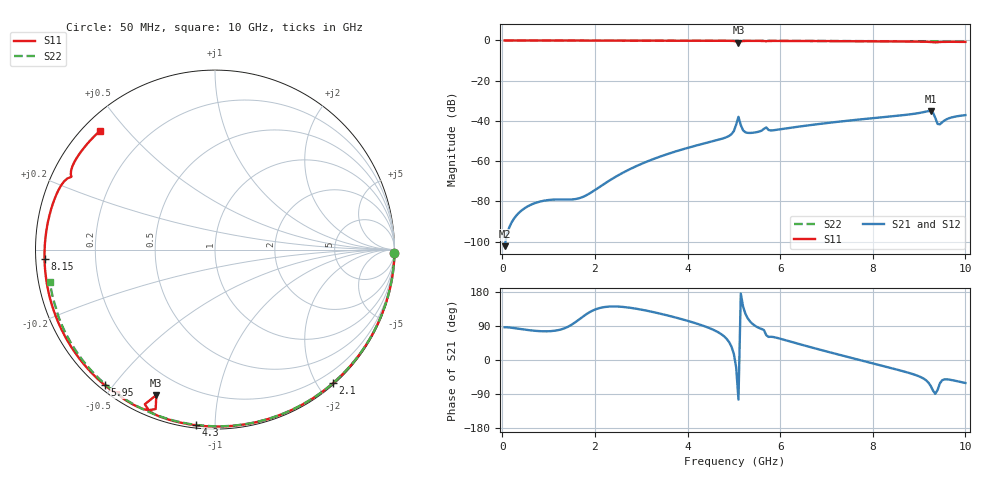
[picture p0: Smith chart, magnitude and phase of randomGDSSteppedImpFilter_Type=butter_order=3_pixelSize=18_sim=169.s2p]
! freq	dB(S11)	phase(S11)	dB(S12)	phase(S12)
!  dB(S21)	phase(S21)	dB(S22)	phase(S22)
!S-par simulation data
#  GHz  S  DB  R 50
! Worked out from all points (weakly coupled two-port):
!   200 points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, 50 MHz to 10 GHz, reference 50 ohm
!   highest |S21| = -35.11 dB at 9.25 GHz (marker M1); lowest = -102.3 dB at 50 MHz (marker M2)
!   lowest |S11| = -1.2 dB at 5.1 GHz (marker M3), VSWR 14.80, Z = 4.91 - j33.5 ohm
!   |S11| at or under -10 dB: nowhere
!   |S22| runs from -0.6 to 0.0 dB; largest |S21 - S12| = 0
!   S11 on the Smith chart (normalised r, x): 50 MHz: 0, -97; 2.1 GHz: 0.02, -2.22; 4.3 GHz: 0.01, -0.90; 5.95 GHz: 0.02, -0.48; 8.15 GHz: 0.03, -0.03; 10 GHz: 0.05, +0.42
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0.05  -0.00 -1.2  -102.32 86.4  -102.32 86.4  -0.00 -1.0
1.75  -0.05 -40.7  -77.73 115.3  -77.73 115.3  -0.04 -33.9
2.1  -0.06 -48.6  -72.88 137.0  -72.88 137.0  -0.05 -40.5
3.4  -0.10 -77.1  -57.83 122.6  -57.83 122.6  -0.09 -64.2
4.3  -0.14 -96.1  -51.58 92.0  -51.58 92.0  -0.11 -79.8
4.9  -0.19 -109.3  -47.44 46.8  -47.44 46.8  -0.14 -89.8
5  -0.26 -112.3  -45.07 16.1  -45.07 16.1  -0.14 -91.5
5.05  -0.48 -114.4  -41.86 -19.6  -41.86 -19.6  -0.15 -92.3
5.1  -1.18 -112.0  -37.98 -104.6  -37.98 -104.6  -0.17 -93.1
5.2  -0.28 -112.5  -44.72 140.8  -44.72 140.8  -0.15 -94.6
5.25  -0.23 -114.1  -45.66 121.9  -45.66 121.9  -0.15 -95.5
5.7  -0.38 -123.9  -43.26 65.6  -43.26 65.6  -0.17 -102.7
5.95  -0.23 -129.2  -44.37 57.9  -44.37 57.9  -0.19 -106.7
6.7  -0.29 -144.9  -41.95 32.4  -41.95 32.4  -0.23 -118.4
8.15  -0.44 -177.0  -38.31 -13.5  -38.31 -13.5  -0.35 -140.5
8.35  -0.46 178.2  -37.87 -19.8  -37.87 -19.8  -0.36 -143.5
9.25  -0.78 154.3  -35.11 -68.2  -35.11 -68.2  -0.47 -157.4
9.3  -0.90 153.4  -35.90 -80.5  -35.90 -80.5  -0.48 -158.2
9.4  -0.85 152.4  -41.52 -79.0  -41.52 -79.0  -0.50 -159.7
9.45  -0.77 151.1  -41.71 -61.4  -41.71 -61.4  -0.50 -160.4
9.65  -0.68 144.9  -38.66 -51.7  -38.66 -51.7  -0.52 -163.5
10  -0.71 134.1  -37.14 -60.7  -37.14 -60.7  -0.56 -169.1
